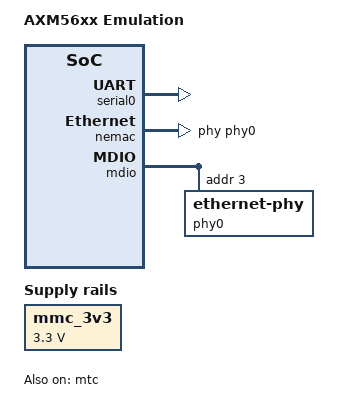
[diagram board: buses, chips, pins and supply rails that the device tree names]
/*
 * arch/arm64/boot/dts/intel/axm5606-emu.dts
 *
 * Copyright (C) 2013 LSI
 *
 * This program is free software; you can redistribute it and/or modify
 * it under the terms of the GNU General Public License as published by
 * the Free Software Foundation; either version 2 of the License, or
 * (at your option) any later version.
 */

/dts-v1/;

#include "axm56xx.dtsi"
#include "axm5606-cpus.dtsi"

/ {
	model = "AXM56xx Emulation";
	compatible = "lsi,axm5616";

	memory {
		device_type = "memory";
		reg = <0 0x00000000 0x40000000>;
	};

	mmc_3v3: fixedregulator@0 {
		compatible = "regulator-fixed";
		regulator-name = "3V3";
		regulator-min-microvolt = <3300000>;
		regulator-max-microvolt = <3300000>;
		regulator-always-on;
	};

	soc {
	};
};

&serial0 {
	status = "okay";
};

&nemac {
	status = "okay";
	phy-handle = <&phy0>;
};

&mdio {
	status = "okay";
	lsi,mdio-clk-offset = <0x5>;
	lsi,mdio-clk-period = <0xc>;
	max-speed = <10>;

	phy0: ethernet-phy@3 {
		reg = <0x3>;
	};
};
&mtc {
	status = "okay";
};
